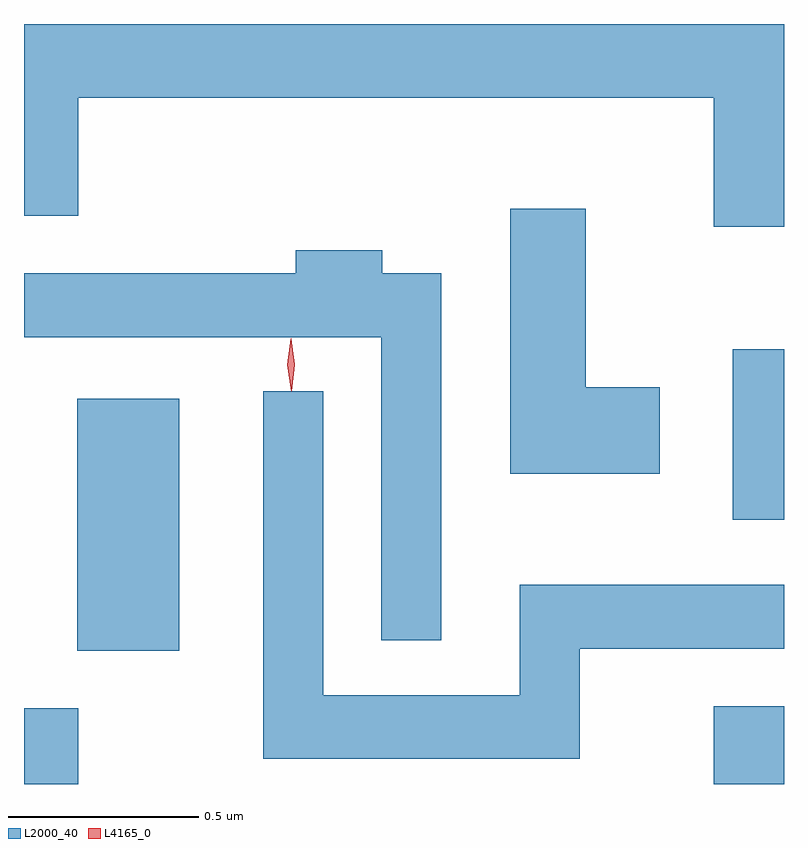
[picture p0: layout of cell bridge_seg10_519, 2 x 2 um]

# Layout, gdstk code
import gdstk
lib = gdstk.Library(unit=1e-6, precision=1e-09)
def R(c, l, rs):  # rectangles x0, y0, x1, y1
    for r in rs: c.add(gdstk.rectangle(r[:2], r[2:], *l))
def P(c, l, *ps):  # polygons
    for p in ps: c.add(gdstk.Polygon(p, *l))
L2000_40 = (2000, 40)
L4165_0 = (4165, 0)

bridge_seg10_519 = lib.new_cell('bridge_seg10_519')
R(bridge_seg10_519, L2000_40, [(878.536,2167.61,878.679,2167.809), (880.351,2167.61,880.536,2167.814), (878.676,2167.961,878.944,2168.624), (880.401,2168.306,880.536,2168.754)])
P(bridge_seg10_519, L2000_40, [(880.536,2169.61),(878.536,2169.61),(878.536,2169.106),(878.679,2169.106),(878.679,2169.416),(880.351,2169.416),(880.351,2169.076),(880.536,2169.076)],
  [(880.209,2168.654),(880.014,2168.654),(880.014,2169.124),(879.816,2169.124),(879.816,2168.426),(880.209,2168.426)],
  [(879.634,2168.954),(879.479,2168.954),(879.479,2169.014),(879.251,2169.014),(879.251,2168.954),(878.536,2168.954),(878.536,2168.786),(879.476,2168.786),(879.476,2167.988),(879.634,2167.988)],
  [(879.999,2167.966),(880.536,2167.966),(880.536,2168.134),(879.841,2168.134),(879.841,2167.844),(879.324,2167.844),(879.324,2168.643),(879.166,2168.643),(879.166,2167.676),(879.999,2167.676)])
P(bridge_seg10_519, L4165_0, [(879.239,2168.644),(879.239,2168.644),(879.229,2168.713),(879.238,2168.782),(879.239,2168.783),(879.239,2168.782),(879.249,2168.713),(879.24,2168.644)],
  [(879.239,2168.647),(879.239,2168.648),(879.229,2168.713),(879.238,2168.78),(879.238,2168.78),(879.238,2168.78),(879.249,2168.714),(879.24,2168.648)])

lib.write_gds('bridge_seg10_519.gds')
